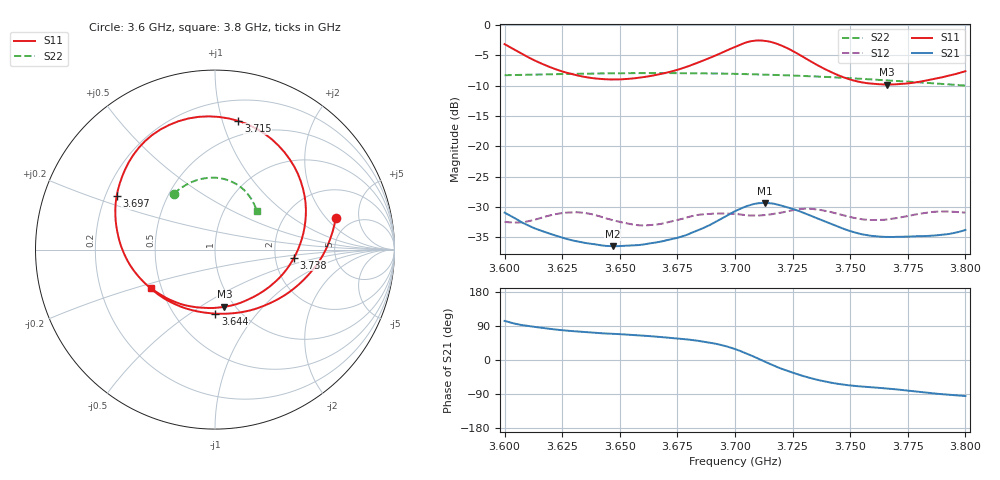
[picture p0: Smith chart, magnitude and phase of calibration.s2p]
#  HZ  S  DB  R  50.00
! Rohde & Schwarz ZVB8 2Ports - Version 3.70 - 1145.1010k08 SN: 100925
! Date: 2017-03-03 16:03:40
! Measurements: S11 S21 S12 S22
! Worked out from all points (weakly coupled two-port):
!   201 points, 3.6 GHz to 3.8 GHz, reference 50 ohm
!   highest |S21| = -29.31 dB at 3.713 GHz (marker M1); lowest = -36.5 dB at 3.647 GHz (marker M2)
!   lowest |S11| = -9.8 dB at 3.766 GHz (marker M3), VSWR 1.95, Z = 44.8 - j31.9 ohm
!   |S11| at or under -10 dB: nowhere
!   |S22| runs from -10.0 to -7.9 dB; largest |S21 - S12| = 0.014
!   S11 on the Smith chart (normalised r, x): 3.6 GHz: 3.75, +2.54; 3.644 GHz: 0.78, -0.64; 3.697 GHz: 0.25, +0.24; 3.715 GHz: 0.37, +1.13; 3.738 GHz: 2.55, -0.28; 3.8 GHz: 0.44, -0.23
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3.6e9  -3.16 14.6  -30.93 103.1  -32.45 127.3  -8.28 126.4
3.607e9  -4.65 -6.0  -32.41 92.7  -32.53 123.7  -8.22 123.4
3.614e9  -6.02 -23.8  -33.64 86.6  -32.00 118.7  -8.16 120.3
3.634e9  -8.51 -69.0  -35.85 74.0  -30.95 85.4  -8.03 111.2
3.644e9  -8.95 -89.7  -36.41 69.9  -31.87 69.1  -7.98 106.6
3.647e9  -8.98 -95.7  -36.45 69.1  -32.18 65.8  -7.96 105.3
3.667e9  -8.13 -135.5  -35.75 61.0  -32.83 52.6  -7.93 96.3
3.683e9  -6.34 -170.0  -33.96 51.4  -31.35 34.7  -7.95 89.2
3.697e9  -4.10 151.6  -31.31 34.8  -31.09 12.3  -8.03 83.2
3.7e9  -3.62 141.6  -30.68 28.9  -31.14 7.9  -8.05 81.9
3.708e9  -2.61 110.1  -29.52 9.4  -31.40 -1.9  -8.13 78.5
3.713e9  -2.62 88.3  -29.31 -4.4  -31.33 -6.6  -8.18 76.5
3.715e9  -2.75 79.7  -29.37 -9.9  -31.23 -8.8  -8.21 75.6
3.72e9  -3.36 58.5  -29.76 -22.6  -30.92 -14.9  -8.27 73.6
3.724e9  -4.07 42.5  -30.19 -31.2  -30.61 -20.6  -8.32 71.9
3.734e9  -6.25 7.0  -31.61 -49.6  -30.34 -39.5  -8.47 68.0
3.738e9  -7.07 -5.8  -32.23 -55.3  -30.55 -46.9  -8.53 66.4
3.75e9  -8.99 -40.5  -33.97 -67.1  -31.64 -63.6  -8.77 61.7
3.766e9  -9.82 -80.7  -34.92 -75.3  -32.05 -76.0  -9.12 55.5
3.767e9  -9.82 -83.0  -34.93 -75.7  -32.00 -76.8  -9.14 55.1
3.785e9  -9.00 -120.1  -34.74 -87.5  -30.85 -99.1  -9.59 48.3
3.8e9  -7.62 -148.8  -33.78 -95.2  -30.93 -122.6  -9.99 42.8
